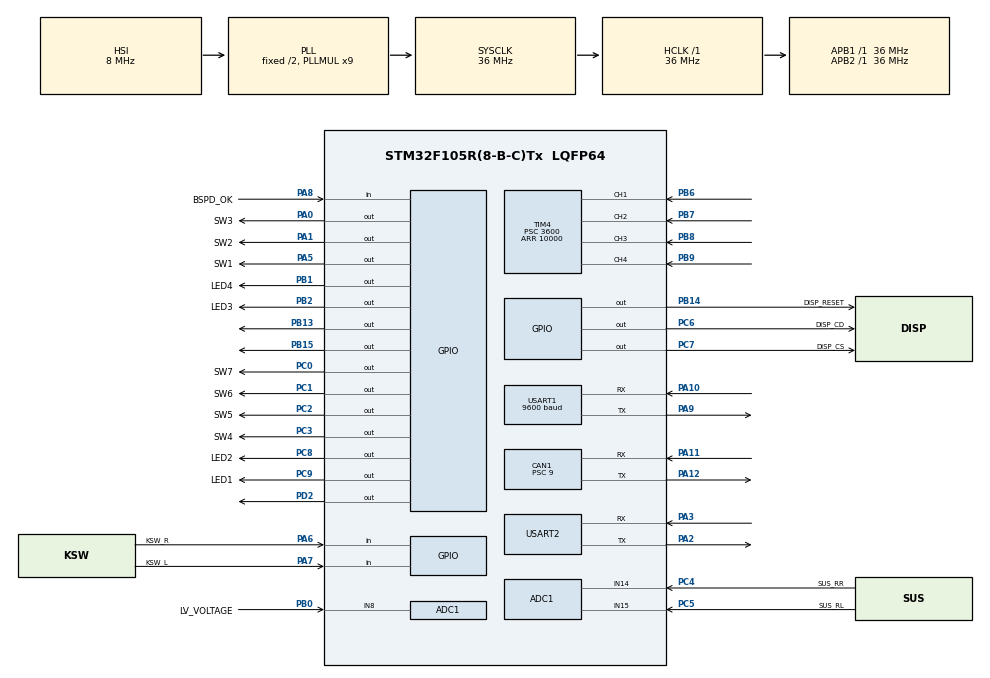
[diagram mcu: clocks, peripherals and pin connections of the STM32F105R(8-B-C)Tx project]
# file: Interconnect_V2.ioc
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ADC1.Channel-10\#ChannelRegularConversion=ADC_CHANNEL_8
ADC1.Channel-11\#ChannelRegularConversion=ADC_CHANNEL_14
ADC1.Channel-12\#ChannelRegularConversion=ADC_CHANNEL_15
ADC1.Channel-13\#ChannelRegularConversion=ADC_CHANNEL_TEMPSENSOR
ADC1.ContinuousConvMode=ENABLE
ADC1.DataAlign=ADC_DATAALIGN_RIGHT
ADC1.DiscontinuousConvMode=DISABLE
ADC1.EnableAnalogWatchDog=false
ADC1.EnableRegularConversion=ENABLE
ADC1.ExternalTrigConv=ADC_SOFTWARE_START
ADC1.InjNumberOfConversion=0
ADC1.NbrOfConversion=4
ADC1.NbrOfConversionFlag=1
ADC1.Rank-10\#ChannelRegularConversion=1
ADC1.Rank-11\#ChannelRegularConversion=2
ADC1.Rank-12\#ChannelRegularConversion=3
ADC1.Rank-13\#ChannelRegularConversion=4
ADC1.SamplingTime-10\#ChannelRegularConversion=ADC_SAMPLETIME_41CYCLES_5
ADC1.SamplingTime-11\#ChannelRegularConversion=ADC_SAMPLETIME_41CYCLES_5
ADC1.SamplingTime-12\#ChannelRegularConversion=ADC_SAMPLETIME_41CYCLES_5
ADC1.SamplingTime-13\#ChannelRegularConversion=ADC_SAMPLETIME_41CYCLES_5
ADC1.ScanConvMode=ADC_SCAN_ENABLE
ADC1.master=1
CAN1.BS1=CAN_BS1_5TQ
CAN1.BS2=CAN_BS2_2TQ
CAN1.CalculateTimeBit=2000
CAN1.CalculateTimeQuantum=250.0
CAN1.Prescaler=9
Dma.ADC1.0.Direction=DMA_PERIPH_TO_MEMORY
Dma.ADC1.0.Instance=DMA1_Channel1
Dma.ADC1.0.MemDataAlignment=DMA_MDATAALIGN_HALFWORD
Dma.ADC1.0.MemInc=DMA_MINC_ENABLE
Dma.ADC1.0.Mode=DMA_CIRCULAR
Dma.ADC1.0.PeriphDataAlignment=DMA_PDATAALIGN_HALFWORD
Dma.ADC1.0.PeriphInc=DMA_PINC_DISABLE
Dma.ADC1.0.Priority=DMA_PRIORITY_LOW
Dma.Request0=ADC1
Mcu.Family=STM32F1
Mcu.Name=STM32F105R(8-B-C)Tx
Mcu.Package=LQFP64
NVIC.CAN1_RX0_IRQn=true\:0\:0\:false\:true\:true\:3\:true
NVIC.CAN1_RX1_IRQn=true\:0\:0\:false\:true\:true\:2\:true
NVIC.CAN1_SCE_IRQn=true\:0\:0\:false\:true\:true\:4\:true
NVIC.CAN1_TX_IRQn=true\:0\:0\:false\:true\:true\:1\:true
NVIC.DMA1_Channel1_IRQn=true\:0\:0\:false\:false\:true\:false
NVIC.PriorityGroup=NVIC_PRIORITYGROUP_4
NVIC.TIM3_IRQn=true\:0\:0\:false\:false\:true\:true
NVIC.TIM4_IRQn=true\:0\:0\:false\:false\:true\:true
NVIC.USART2_IRQn=true\:0\:0\:false\:false\:true\:true
PA0-WKUP.GPIO_Label=SW3
PA0-WKUP.Signal=GPIO_Output
PA1.GPIO_Label=SW2
PA1.Signal=GPIO_Output
PA10.Mode=Asynchronous
PA10.Signal=USART1_RX
PA11.Mode=Master
PA11.Signal=CAN1_RX
PA12.Mode=Master
PA12.Signal=CAN1_TX
PA13.Mode=Serial_Wire
PA13.Signal=SYS_JTMS-SWDIO
PA14.Mode=Serial_Wire
PA14.Signal=SYS_JTCK-SWCLK
PA15.Signal=SPI3_NSS
PA2.Mode=Asynchronous
PA2.Signal=USART2_TX
PA3.Mode=Asynchronous
PA3.Signal=USART2_RX
PA5.GPIO_Label=SW1
PA5.Signal=GPIO_Output
PA6.GPIO_Label=KSW_R
PA6.Signal=GPIO_Input
PA7.GPIO_Label=KSW_L
PA7.Signal=GPIO_Input
PA8.GPIO_Label=BSPD_OK
PA8.Signal=GPIO_Input
PA9.Mode=Asynchronous
PA9.Signal=USART1_TX
PB0.GPIO_Label=LV_VOLTAGE
PB0.Signal=ADCx_IN8
PB1.GPIO_Label=LED4
PB1.Signal=GPIO_Output
PB13.Signal=GPIO_Output
PB14.GPIO_Label=DISP_RESET
PB14.Signal=GPIO_Output
PB15.Signal=GPIO_Output
PB2.GPIO_Label=LED3
PB2.Signal=GPIO_Output
PB3.Signal=SPI3_SCK
PB4.Signal=SPI3_MISO
PB5.Signal=SPI3_MOSI
PB6.Signal=S_TIM4_CH1
PB7.Signal=S_TIM4_CH2
PB8.Signal=S_TIM4_CH3
PB9.Signal=S_TIM4_CH4
PC0.GPIO_Label=SW7
PC0.Signal=GPIO_Output
PC1.GPIO_Label=SW6
PC1.Signal=GPIO_Output
PC10.Signal=USART3_TX
PC11.Signal=USART3_RX
PC12.Signal=USART3_CK
PC2.GPIO_Label=SW5
PC2.Signal=GPIO_Output
PC3.GPIO_Label=SW4
PC3.Signal=GPIO_Output
PC4.GPIO_Label=SUS_RR
PC4.Signal=ADCx_IN14
PC5.GPIO_Label=SUS_RL
PC5.Signal=ADCx_IN15
PC6.GPIO_Label=DISP_CD
PC6.Signal=GPIO_Output
PC7.GPIO_Label=DISP_CS
PC7.Signal=GPIO_Output
PC8.GPIO_Label=LED2
PC8.Signal=GPIO_Output
PC9.GPIO_Label=LED1
PC9.Signal=GPIO_Output
PD2.Signal=GPIO_Output
ProjectManager.HeapSize=0x200
ProjectManager.StackSize=0x400
ProjectManager.TargetToolchain=TrueSTUDIO
RCC.ADCPresc=RCC_ADCPCLK2_DIV6
RCC.AHBFreq_Value=36000000
RCC.APB1Freq_Value=36000000
RCC.APB1TimFreq_Value=36000000
RCC.APB2Freq_Value=36000000
RCC.APB2TimFreq_Value=36000000
RCC.HCLKFreq_Value=36000000
RCC.PLLMUL=RCC_PLL_MUL9
RCC.SYSCLKFreq_VALUE=36000000
RCC.SYSCLKSource=RCC_SYSCLKSOURCE_PLLCLK
RCC.USBFreq_Value=24000000
SH.ADCx_IN14.0=ADC1_IN14,IN14
SH.ADCx_IN15.0=ADC1_IN15,IN15
SH.ADCx_IN8.0=ADC2_IN8
SH.ADCx_IN8.1=ADC1_IN8,IN8
SH.S_TIM4_CH1.0=TIM4_CH1,Input_Capture1_from_TI1
SH.S_TIM4_CH2.0=TIM4_CH2,Input_Capture2_from_TI2
SH.S_TIM4_CH3.0=TIM4_CH3,Input_Capture3_from_TI3
SH.S_TIM4_CH4.0=TIM4_CH4,Input_Capture4_from_TI4
TIM3.Period=10000
TIM3.Prescaler=3600
TIM4.Channel-Input_Capture1_from_TI1=TIM_CHANNEL_1
TIM4.Channel-Input_Capture2_from_TI2=TIM_CHANNEL_2
TIM4.Channel-Input_Capture3_from_TI3=TIM_CHANNEL_3
TIM4.Channel-Input_Capture4_from_TI4=TIM_CHANNEL_4
TIM4.Period=10000
TIM4.Prescaler=3600
USART1.BaudRate=9600
USART1.Mode=MODE_TX
USART1.VirtualMode=VM_ASYNC
USART2.VirtualMode=VM_ASYNC
VP_ADC1_TempSens_Input.Mode=IN-TempSens
VP_TIM3_VS_ClockSourceINT.Mode=Internal
VP_TIM4_VS_ClockSourceINT.Mode=Internal
board=Interconnect_V2

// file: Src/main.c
/**
  ******************************************************************************
  * @file           : main.c
  * @brief          : Main program body
  ******************************************************************************
  ** This notice applies to any and all portions of this file
  * that are not between comment pairs USER CODE BEGIN and
  * USER CODE END. Other portions of this file, whether
  * inserted by the user or by software development tools
  * are owned by their respective copyright owners.
  *
  * COPYRIGHT(c) 2018 STMicroelectronics
  *
  * Redistribution and use in source and binary forms, with or without modification,
  * are permitted provided that the following conditions are met:
  *   1. Redistributions of source code must retain the above copyright notice,
  *      this list of conditions and the following disclaimer.
  *   2. Redistributions in binary form must reproduce the above copyright notice,
  *      this list of conditions and the following disclaimer in the documentation
  *      and/or other materials provided with the distribution.
  *   3. Neither the name of STMicroelectronics nor the names of its contributors
  *      may be used to endorse or promote products derived from this software
  *      without specific prior written permission.
  *
  * THIS SOFTWARE IS PROVIDED BY THE COPYRIGHT HOLDERS AND CONTRIBUTORS "AS IS"
  * AND ANY EXPRESS OR IMPLIED WARRANTIES, INCLUDING, BUT NOT LIMITED TO, THE
  * IMPLIED WARRANTIES OF MERCHANTABILITY AND FITNESS FOR A PARTICULAR PURPOSE ARE
  * DISCLAIMED. IN NO EVENT SHALL THE COPYRIGHT HOLDER OR CONTRIBUTORS BE LIABLE
  * FOR ANY DIRECT, INDIRECT, INCIDENTAL, SPECIAL, EXEMPLARY, OR CONSEQUENTIAL
  * DAMAGES (INCLUDING, BUT NOT LIMITED TO, PROCUREMENT OF SUBSTITUTE GOODS OR
  * SERVICES; LOSS OF USE, DATA, OR PROFITS; OR BUSINESS INTERRUPTION) HOWEVER
  * CAUSED AND ON ANY THEORY OF LIABILITY, WHETHER IN CONTRACT, STRICT LIABILITY,
  * OR TORT (INCLUDING NEGLIGENCE OR OTHERWISE) ARISING IN ANY WAY OUT OF THE USE
  * OF THIS SOFTWARE, EVEN IF ADVISED OF THE POSSIBILITY OF SUCH DAMAGE.
  *
  ******************************************************************************
  */
#include "main.h"
#include "stm32f1xx_hal.h"

/* USER CODE BEGIN Includes */
#include "CAN2018.h"
#include "dog_1701.h"
#include <font_16x32nums.h>
#include <font_6x8.h>
#include <font_8x16.h>
#include <font_8x8.h>
#include <logo_BLH.h>

#define TXSIZE 5
#define RXSIZE 5

#define VCC 3300
#define LEN 32   //pocet vzoriek spriemerovanych v ADC7

#define TEMP_H 45 //teplota pri ktorej zopnu vodne pumpy
#define TEMP_L 40 //teplota pri ktorej vypnu vodne pumpy

//pre telemetriu
#define RXBUFFERSIZE 100
#define RFTXSIZE 9

/* USER CODE END Includes */

ADC_HandleTypeDef hadc1;
DMA_HandleTypeDef hdma_adc1;

CAN_HandleTypeDef hcan1;

TIM_HandleTypeDef htim3;
TIM_HandleTypeDef htim4;

UART_HandleTypeDef huart1;
UART_HandleTypeDef huart2;

/* USER CODE BEGIN PV */
/* Private variables ---------------------------------------------------------*/

char string_buf[7];
uint8_t buzzed=0;
uint8_t brake_ok=0;
uint8_t pocitadlo=0;
uint8_t lv_count=0;
uint8_t rtd_ok=0;
uint8_t BSPD_OK=0;

uint8_t i,k,j,u,x;
uint8_t inertia,killswitch_R,killswitch_L; // snimanie shutdownu

double Time_Left[5],Time_Right[5],spd_L,spd_R,T_Left,T_Right;

#define TEETH 100
#define obvod 1.47655

uint16_t LV_voltage;   // [mV]
uint8_t inertia,killswitch_R,killswitch_L; // snimanie shutdownu

typedef struct message{
		uint16_t cell_voltage[7];	//[mV]
		uint8_t  cell_temp[7];	//[°C]
		int16_t  current;            	 		//[0.1A]
		uint8_t  disch_flags;
		uint8_t  SW_flags;
	}MESSAGE;
MESSAGE BMS_Data;

typedef struct adc_data{
	uint16_t LV_voltage;    //napatie meranie priamo interkonektom
	uint16_t sus_L;			//lavy tlmic
	uint16_t sus_R;			//pravy tlmic
	uint16_t stm_temp;
}ADC;
ADC adc_raw[LEN], adc_mv;
uint8_t pokus[]={1,3};

//buffer telemetrie
uint8_t RfTxBuffer[RFTXSIZE];

/* USER CODE END PV */

void SystemClock_Config(void);
static void MX_GPIO_Init(void);
static void MX_DMA_Init(void);
static void MX_CAN1_Init(void);
static void MX_USART2_UART_Init(void);
static void MX_ADC1_Init(void);
static void MX_USART1_UART_Init(void);
static void MX_TIM3_Init(void);
static void MX_TIM4_Init(void);
static void MX_NVIC_Init(void);

/* USER CODE BEGIN PFP */
/* Private function prototypes -----------------------------------------------*/
void Switch_action(uint8_t number_of_switch, uint8_t state);

static void digit5_to_ascii_int(int16_t value,char *buffer);
static void digit3_to_ascii(uint16_t value,char *buffer);
static void digit3_to_ascii_int(int8_t value,char *buffer);
static void digit5_to_ascii(uint16_t value,char *buffer);
static void digit_to_ascii_XX_X(uint16_t value,char *buffer);
static void digit_to_ascii_int_X_X(int16_t value,char *buffer);
static void print_display();
void adc_raw_to_mv(void);
void water_pump(void);

//fukncie pre telemetriu
static void tel_send_FU1(void);
//static void tel_send_bms(void);
static void tel_send_BBoxPower(void);
static void tel_send_ECU(void);
static void tel_send_INTERKONEKT(void);
//static void tel_send_BmsTemp1(void);
//static void tel_send_BmsTemp2(void);
//static void tel_send_BmsVoltage1(void);
//static void tel_send_BmsVoltage2(void);

/* USER CODE END PFP */

/* USER CODE BEGIN 0 */
CAN_FilterConfTypeDef sFilterConfig;

/// Struktury na ukladanie RAW data z CAN
extern CanTxMsgTypeDef CanTxMsg;
extern CanRxMsgTypeDef CanRxMsg;
extern BBOX_status_TypeDef BBOX_status_Data;
extern BBOX_power_TypeDef BBOX_power_Data;
extern BBOX_command_TypeDef BBOX_command_Data;
extern Interconnect_TypeDef Interconnect_Data;
extern FU_Values_1_TypeDef FU_Values_1_Data;
extern FU_Values_2_TypeDef FU_Values_2_Data;
extern ECU_State_TypeDef ECU_State_Data;
extern BMS_Command_TypeDef BMS_Command_Data;
extern wheel_RPM_TypeDef wheel_RPM_Data;

void initCanFilter(void)
{
    sFilterConfig.FilterNumber = 0;
    sFilterConfig.FilterMode = CAN_FILTERMODE_IDMASK;
    sFilterConfig.FilterScale = CAN_FILTERSCALE_16BIT;
    sFilterConfig.FilterIdHigh = 0x0000;
    sFilterConfig.FilterIdLow = 0x0000;
    sFilterConfig.FilterMaskIdHigh = 0x0000;
    sFilterConfig.FilterMaskIdLow = 0x0000;
    sFilterConfig.FilterFIFOAssignment = CAN_FILTER_FIFO0;
        sFilterConfig.BankNumber = 0;
        sFilterConfig.FilterActivation = ENABLE;

        HAL_CAN_ConfigFilter(&hcan1, &sFilterConfig);
}

void HAL_TIM_IC_CaptureCallback(TIM_HandleTypeDef* htim)
{
	if(htim -> Channel == HAL_TIM_ACTIVE_CHANNEL_1)
		{
			if(j==5)j=0;
			Time_Left[j]=__HAL_TIM_GET_COUNTER(&htim3);;
			j++;
			__HAL_TIM_SET_COUNTER(&htim3,0);
		}

	if(htim -> Channel == HAL_TIM_ACTIVE_CHANNEL_3)
		{
			//  Time_Right*10 000 = time in seconds
			if(k==5)k=0;
			Time_Right[k]=__HAL_TIM_GET_COUNTER(&htim4);;
			k++;
			__HAL_TIM_SET_COUNTER(&htim4,0);
		}
}

/* USER CODE END 0 */

int main(void)
{

  /* MCU Configuration----------------------------------------------------------*/

  /* Reset of all peripherals, Initializes the Flash interface and the Systick. */
  HAL_Init();

  /* Configure the system clock */
  SystemClock_Config();

  /* Initialize all configured peripherals */
  MX_GPIO_Init();
  MX_DMA_Init();
  MX_CAN1_Init();
  MX_USART2_UART_Init();
  MX_ADC1_Init();
  MX_USART1_UART_Init();
  MX_TIM3_Init();
  MX_TIM4_Init();

  /* Initialize interrupts */
  MX_NVIC_Init();
  /* USER CODE BEGIN 2 */
  HAL_Delay(500);
 // HAL_GPIO_WritePin(SW6_GPIO_Port,SW6_Pin,GPIO_PIN_SET);

  initCanFilter();
  hcan1.pTxMsg = &CanTxMsg; //Pointer struktury hcan na data nastavi na struktur v CAN.c
  hcan1.pRxMsg = &CanRxMsg;
   /// Zakladne hodnoty pre struktury nasej zbernice CAN. Aplikuju sa podla nastavenia CAN sprav
   //canDefaults(&hcan1);
  HAL_CAN_Receive_IT(&hcan1, CAN_FIFO0); //Interupt na prijatie prvej spravy. Dalej nastavujeme v evente.

  while(HAL_ADCEx_Calibration_Start(&hadc1) != HAL_OK);
  HAL_ADC_Start_DMA(&hadc1, (uint32_t*)&adc_raw, (LEN*sizeof(ADC))/2);

  //nastavenie displaju
  initialize(30,22,24,26,28,DOGS102);
  view(VIEW_TOP);  //default viewing direction
  clear();  //clear whole display
  contrast(10);

  HAL_Delay(50);
  HAL_GPIO_WritePin(SW2_GPIO_Port,SW2_Pin,GPIO_PIN_SET);   // zopnutie napajanie shutdownu

  	  HAL_TIM_IC_Start_IT(&htim4,TIM_CHANNEL_1);
      HAL_TIM_IC_Start_IT(&htim4,TIM_CHANNEL_2);
      HAL_TIM_IC_Start_IT(&htim4,TIM_CHANNEL_3);
      HAL_TIM_IC_Start_IT(&htim4,TIM_CHANNEL_4);
      HAL_TIM_Base_Start_IT(&htim3);

  /* USER CODE END 2 */

  /* Infinite loop */
  /* USER CODE BEGIN WHILE */
  while (1)
  {     HAL_GPIO_WritePin(SW6_GPIO_Port,SW6_Pin,GPIO_PIN_SET);
		switch (Interconnect_Data.car_state) {
		case 0:
			Interconnect_Data.car_state = 1;
			break;
		case 1:  ///wait for BMS and IMD ok
			if ((BBOX_status_Data.IMD_OK == 1))
				//	&& (BBOX_status_Data.BMS_OK == 1))
				Interconnect_Data.car_state = 2;
			break;
		case 2:  ///wait for SHDN OK
			if (BBOX_status_Data.TSMS > 0) {
				Interconnect_Data.car_state = 3;
			}
			else (Interconnect_Data.car_state=2);

			break;
		case 3:  /// wait for HV precharged all OK
			if ((BBOX_status_Data.AIR_N == 1) && (BBOX_status_Data.AIR_P == 1))
				Interconnect_Data.car_state = 4;
			break;
		case 4:  ///wait for rtd
				 //rtd_ok=0;
			if (FU_Values_2_Data.RTD == 1)
				rtd_ok = 1;
			if ((rtd_ok == 1) && (FU_Values_2_Data.RTD == 0)) {
				Interconnect_Data.car_state = 5;
				rtd_ok = 0;
			}
			//rtd_ok=0;
			break;
		case 5:		  ///wait for break press and release
			if ((BBOX_status_Data.TSMS < 1))
							Interconnect_Data.car_state = 1;

			if ((FU_Values_1_Data.brake1 + FU_Values_1_Data.brake2) > 10)
				brake_ok = 1;
			if ((brake_ok == 1)
					&& ((FU_Values_1_Data.brake1 + FU_Values_1_Data.brake2) > 10)
					&& (FU_Values_2_Data.RTD)) {

				Interconnect_Data.car_state = 6;

				HAL_GPIO_WritePin(SW3_GPIO_Port, SW3_Pin, GPIO_PIN_SET);
				Interconnect_Data.tsas = 1;
				HAL_Delay(1500);
				HAL_GPIO_WritePin(SW3_GPIO_Port, SW3_Pin, GPIO_PIN_RESET);
				Interconnect_Data.tsas = 0;
				//buzzed=0;
				 //Interconnect_Data.tsas=1;
			//	 if (buzzed==0) HAL_TIM_Base_Start_IT(&htim6);
			}
			break;
		case 6:		  /// all OK driving mode

			if ((BBOX_status_Data.TSMS < 1)) {
				Interconnect_Data.car_state = 1;

				Interconnect_Data.tsas = 0;
				rtd_ok=0;
			}
			if (((FU_Values_1_Data.apps1 - FU_Values_1_Data.apps2) > 20)
					|| ((FU_Values_1_Data.apps2 - FU_Values_1_Data.apps1) > 20))
				Interconnect_Data.car_state = 7;

			/*
			if (((FU_Values_1_Data.brake1 + FU_Values_1_Data.brake2) > 6)
					&& ((FU_Values_1_Data.apps1 + FU_Values_1_Data.apps2) > 50))
				Interconnect_Data.car_state = 8;
*/
			break;
		case 7:		  ///implausability check acc1 nad acc2

			if ((BBOX_status_Data.TSMS < 1)) {
				Interconnect_Data.car_state = 1;

				HAL_Delay(1000);
				Interconnect_Data.tsas = 0;
			}
			if (((FU_Values_1_Data.apps1 - FU_Values_1_Data.apps2) > 20)
					|| ((FU_Values_1_Data.apps2 - FU_Values_1_Data.apps1) > 20)
					)//|| (FU_Values_1_Data.error > 0))
				Interconnect_Data.car_state = 7;
			else
				Interconnect_Data.car_state = 6;
			break;
		case 8:		  ///plausability check acc and brake

			if ((BBOX_status_Data.TSMS < 1)) {
				Interconnect_Data.car_state = 1;
				HAL_Delay(1000);
				Interconnect_Data.tsas = 0;
			}
			if ((FU_Values_1_Data.apps1 + FU_Values_1_Data.apps2) < 11)
				Interconnect_Data.car_state = 6;
			break;
		default:
			break;
		}

		//zopnutie brzdoveho svetla
		if ((FU_Values_1_Data.brake1 > 3) || (FU_Values_1_Data.brake2 > 3)) {
			Interconnect_Data.brake_red = 1;
			HAL_GPIO_WritePin(SW4_GPIO_Port, SW4_Pin, GPIO_PIN_SET); //red
			HAL_GPIO_WritePin(SW5_GPIO_Port,SW5_Pin,GPIO_PIN_RESET);  // white turn off
			Interconnect_Data.brake_white=0;
		}
		else {
			Interconnect_Data.brake_red = 0;
			HAL_GPIO_WritePin(SW4_GPIO_Port, SW4_Pin, GPIO_PIN_RESET); //red
		}

		if((Interconnect_Data.car_state<3)&&(Interconnect_Data.brake_red==0)) {
			HAL_GPIO_WritePin(SW5_GPIO_Port,SW5_Pin,GPIO_PIN_SET);
			Interconnect_Data.brake_white=1;
		}

		else {
			HAL_GPIO_WritePin(SW5_GPIO_Port,SW5_Pin,GPIO_PIN_RESET);
			Interconnect_Data.brake_white=0;
		}

		water_pump();

		(HAL_GPIO_ReadPin(KSW_L_GPIO_Port,KSW_L_Pin))? (Interconnect_Data.killswitch_L=0):(Interconnect_Data.killswitch_L=1);
		(HAL_GPIO_ReadPin(KSW_R_GPIO_Port,KSW_R_Pin))?(Interconnect_Data.killswitch_R=0):(Interconnect_Data.killswitch_R=1);
		(HAL_GPIO_ReadPin(BSPD_OK_GPIO_Port,BSPD_OK_Pin))?(BSPD_OK=1):(BSPD_OK=0);
		HAL_UART_Receive_IT(&huart2, (uint8_t*)&BMS_Data,(uint16_t) sizeof(MESSAGE));

		LV_voltage=0;
		for(i=0;i<7;i++) {
			LV_voltage+= BMS_Data.cell_voltage[i];
		}
		Interconnect_Data.susp_RL=LV_voltage;
		Interconnect_Data.susp_RR=(uint16_t)(BMS_Data.current);
		adc_raw_to_mv();
		print_display();

		/*
		//posli telemetriu
		tel_send_FU1();
		tel_send_BBoxPower();
		tel_send_ECU();
		tel_send_INTERKONEKT();
*/
		//otáèky
						for(u=0;u<5;u++)
							  	  {
								  	  T_Left=T_Left + Time_Left[u];
								  	  T_Right=T_Right + Time_Right[u];
							  	  }
							  T_Left=T_Left/5.0;
							  T_Right=T_Right/5.0;
							  if (T_Left!=0)  //(T_Left!=0) && (T_Right!=0)
							  {
							  wheel_RPM_Data.rear_left = ((10000*obvod)/((T_Left)*TEETH));  	 // m/s
							  wheel_RPM_Data.rear_right = ((10000*obvod)/((T_Right)*TEETH));		//m/s
							  }
							  if(__HAL_TIM_GET_COUNTER(&htim4)>=5000)
							  	  {
								  for(u=0;u<5;u++)
								  	  	  {
								  		  	  Time_Left[u]=0;
								  		  	  Time_Right[u]=0;
								  		  	  spd_L=0;
								  		  	  spd_R=0;
								  		  	  T_Left=0;
								  		  	  T_Right=0;
								  		  	  k=0;
								  		  	  j=0;
								  	  	  }
							  	  }

				Interconnect_Data.reserve=BBOX_status_Data.STM_temp;

				x=HAL_GPIO_ReadPin(GPIOB,GPIO_PIN_6);

		HAL_UART_Transmit(&huart1, (uint8_t*)&BMS_Data,(uint16_t) sizeof(MESSAGE),10);

		//HAL_UART_Transmit(&huart1, (uint8_t*)&pokus, 2, 5 );

		Tx_Interconnect_Data(&hcan1, &Interconnect_Data);
		Tx_wheel_RPM_Data(&hcan1,&wheel_RPM_Data);
		HAL_GPIO_TogglePin(LED2_GPIO_Port, LED2_Pin);
		HAL_Delay(15);

  /* USER CODE END WHILE */

  }

}

void SystemClock_Config(void)
{

  RCC_OscInitTypeDef RCC_OscInitStruct;
  RCC_ClkInitTypeDef RCC_ClkInitStruct;
  RCC_PeriphCLKInitTypeDef PeriphClkInit;

    /**Initializes the CPU, AHB and APB busses clocks
    */
  RCC_OscInitStruct.OscillatorType = RCC_OSCILLATORTYPE_HSI;
  RCC_OscInitStruct.HSIState = RCC_HSI_ON;
  RCC_OscInitStruct.HSICalibrationValue = 16;
  RCC_OscInitStruct.Prediv1Source = RCC_PREDIV1_SOURCE_HSE;
  RCC_OscInitStruct.PLL.PLLState = RCC_PLL_ON;
  RCC_OscInitStruct.PLL.PLLSource = RCC_PLLSOURCE_HSI_DIV2;
  RCC_OscInitStruct.PLL.PLLMUL = RCC_PLL_MUL9;
  RCC_OscInitStruct.PLL2.PLL2State = RCC_PLL_NONE;
  if (HAL_RCC_OscConfig(&RCC_OscInitStruct) != HAL_OK)
  {
    _Error_Handler(__FILE__, __LINE__);
  }

    /**Initializes the CPU, AHB and APB busses clocks
    */
  RCC_ClkInitStruct.ClockType = RCC_CLOCKTYPE_HCLK|RCC_CLOCKTYPE_SYSCLK
                              |RCC_CLOCKTYPE_PCLK1|RCC_CLOCKTYPE_PCLK2;
  RCC_ClkInitStruct.SYSCLKSource = RCC_SYSCLKSOURCE_PLLCLK;
  RCC_ClkInitStruct.AHBCLKDivider = RCC_SYSCLK_DIV1;
  RCC_ClkInitStruct.APB1CLKDivider = RCC_HCLK_DIV1;
  RCC_ClkInitStruct.APB2CLKDivider = RCC_HCLK_DIV1;

  if (HAL_RCC_ClockConfig(&RCC_ClkInitStruct, FLASH_LATENCY_1) != HAL_OK)
  {
    _Error_Handler(__FILE__, __LINE__);
  }

  PeriphClkInit.PeriphClockSelection = RCC_PERIPHCLK_ADC;
  PeriphClkInit.AdcClockSelection = RCC_ADCPCLK2_DIV6;
  if (HAL_RCCEx_PeriphCLKConfig(&PeriphClkInit) != HAL_OK)
  {
    _Error_Handler(__FILE__, __LINE__);
  }

    /**Configure the Systick interrupt time
    */
  HAL_SYSTICK_Config(HAL_RCC_GetHCLKFreq()/1000);

    /**Configure the Systick
    */
  HAL_SYSTICK_CLKSourceConfig(SYSTICK_CLKSOURCE_HCLK);

    /**Configure the Systick interrupt time
    */
  __HAL_RCC_PLLI2S_ENABLE();

  /* SysTick_IRQn interrupt configuration */
  HAL_NVIC_SetPriority(SysTick_IRQn, 0, 0);
}

/**
  * @brief NVIC Configuration.
  * @retval None
  */
static void MX_NVIC_Init(void)
{
  /* CAN1_TX_IRQn interrupt configuration */
  HAL_NVIC_SetPriority(CAN1_TX_IRQn, 0, 0);
  HAL_NVIC_EnableIRQ(CAN1_TX_IRQn);
  /* CAN1_RX1_IRQn interrupt configuration */
  HAL_NVIC_SetPriority(CAN1_RX1_IRQn, 0, 0);
  HAL_NVIC_EnableIRQ(CAN1_RX1_IRQn);
  /* CAN1_RX0_IRQn interrupt configuration */
  HAL_NVIC_SetPriority(CAN1_RX0_IRQn, 0, 0);
  HAL_NVIC_EnableIRQ(CAN1_RX0_IRQn);
  /* CAN1_SCE_IRQn interrupt configuration */
  HAL_NVIC_SetPriority(CAN1_SCE_IRQn, 0, 0);
  HAL_NVIC_EnableIRQ(CAN1_SCE_IRQn);
}

/* ADC1 init function */
static void MX_ADC1_Init(void)
{

  ADC_ChannelConfTypeDef sConfig;

    /**Common config
    */
  hadc1.Instance = ADC1;
  hadc1.Init.ScanConvMode = ADC_SCAN_ENABLE;
  hadc1.Init.ContinuousConvMode = ENABLE;
  hadc1.Init.DiscontinuousConvMode = DISABLE;
  hadc1.Init.ExternalTrigConv = ADC_SOFTWARE_START;
  hadc1.Init.DataAlign = ADC_DATAALIGN_RIGHT;
  hadc1.Init.NbrOfConversion = 4;
  if (HAL_ADC_Init(&hadc1) != HAL_OK)
  {
    _Error_Handler(__FILE__, __LINE__);
  }

    /**Configure Regular Channel
    */
  sConfig.Channel = ADC_CHANNEL_8;
  sConfig.Rank = ADC_REGULAR_RANK_1;
  sConfig.SamplingTime = ADC_SAMPLETIME_41CYCLES_5;
  if (HAL_ADC_ConfigChannel(&hadc1, &sConfig) != HAL_OK)
  {
    _Error_Handler(__FILE__, __LINE__);
  }

    /**Configure Regular Channel
    */
  sConfig.Channel = ADC_CHANNEL_14;
  sConfig.Rank = ADC_REGULAR_RANK_2;
  if (HAL_ADC_ConfigChannel(&hadc1, &sConfig) != HAL_OK)
  {
    _Error_Handler(__FILE__, __LINE__);
  }

    /**Configure Regular Channel
    */
  sConfig.Channel = ADC_CHANNEL_15;
  sConfig.Rank = ADC_REGULAR_RANK_3;
  if (HAL_ADC_ConfigChannel(&hadc1, &sConfig) != HAL_OK)
  {
    _Error_Handler(__FILE__, __LINE__);
  }

    /**Configure Regular Channel
    */
  sConfig.Channel = ADC_CHANNEL_TEMPSENSOR;
  sConfig.Rank = ADC_REGULAR_RANK_4;
  if (HAL_ADC_ConfigChannel(&hadc1, &sConfig) != HAL_OK)
  {
    _Error_Handler(__FILE__, __LINE__);
  }

}

/* CAN1 init function */
static void MX_CAN1_Init(void)
{

  hcan1.Instance = CAN1;
  hcan1.Init.Prescaler = 9;
  hcan1.Init.Mode = CAN_MODE_NORMAL;
  hcan1.Init.SJW = CAN_SJW_1TQ;
  hcan1.Init.BS1 = CAN_BS1_5TQ;
  hcan1.Init.BS2 = CAN_BS2_2TQ;
  hcan1.Init.TTCM = DISABLE;
  hcan1.Init.ABOM = DISABLE;
  hcan1.Init.AWUM = DISABLE;
  hcan1.Init.NART = DISABLE;
  hcan1.Init.RFLM = DISABLE;
  hcan1.Init.TXFP = DISABLE;
  if (HAL_CAN_Init(&hcan1) != HAL_OK)
  {
    _Error_Handler(__FILE__, __LINE__);
  }

}

/* TIM3 init function */
static void MX_TIM3_Init(void)
{

  TIM_ClockConfigTypeDef sClockSourceConfig;
  TIM_MasterConfigTypeDef sMasterConfig;

  htim3.Instance = TIM3;
  htim3.Init.Prescaler = 3600;
  htim3.Init.CounterMode = TIM_COUNTERMODE_UP;
  htim3.Init.Period = 10000;
  htim3.Init.ClockDivision = TIM_CLOCKDIVISION_DIV1;
  htim3.Init.AutoReloadPreload = TIM_AUTORELOAD_PRELOAD_DISABLE;
  if (HAL_TIM_Base_Init(&htim3) != HAL_OK)
  {
    _Error_Handler(__FILE__, __LINE__);
  }

  sClockSourceConfig.ClockSource = TIM_CLOCKSOURCE_INTERNAL;
  if (HAL_TIM_ConfigClockSource(&htim3, &sClockSourceConfig) != HAL_OK)
  {
    _Error_Handler(__FILE__, __LINE__);
  }

  sMasterConfig.MasterOutputTrigger = TIM_TRGO_RESET;
  sMasterConfig.MasterSlaveMode = TIM_MASTERSLAVEMODE_DISABLE;
  if (HAL_TIMEx_MasterConfigSynchronization(&htim3, &sMasterConfig) != HAL_OK)
  {
    _Error_Handler(__FILE__, __LINE__);
  }

}

/* TIM4 init function */
static void MX_TIM4_Init(void)
{

  TIM_ClockConfigTypeDef sClockSourceConfig;
  TIM_MasterConfigTypeDef sMasterConfig;
  TIM_IC_InitTypeDef sConfigIC;

  htim4.Instance = TIM4;
  htim4.Init.Prescaler = 3600;
  htim4.Init.CounterMode = TIM_COUNTERMODE_UP;
  htim4.Init.Period = 10000;
  htim4.Init.ClockDivision = TIM_CLOCKDIVISION_DIV1;
  htim4.Init.AutoReloadPreload = TIM_AUTORELOAD_PRELOAD_DISABLE;
  if (HAL_TIM_Base_Init(&htim4) != HAL_OK)
  {
    _Error_Handler(__FILE__, __LINE__);
  }

  sClockSourceConfig.ClockSource = TIM_CLOCKSOURCE_INTERNAL;
  if (HAL_TIM_ConfigClockSource(&htim4, &sClockSourceConfig) != HAL_OK)
  {
    _Error_Handler(__FILE__, __LINE__);
  }

  if (HAL_TIM_IC_Init(&htim4) != HAL_OK)
  {
    _Error_Handler(__FILE__, __LINE__);
  }

  sMasterConfig.MasterOutputTrigger = TIM_TRGO_RESET;
  sMasterConfig.MasterSlaveMode = TIM_MASTERSLAVEMODE_DISABLE;
  if (HAL_TIMEx_MasterConfigSynchronization(&htim4, &sMasterConfig) != HAL_OK)
  {
    _Error_Handler(__FILE__, __LINE__);
  }

  sConfigIC.ICPolarity = TIM_INPUTCHANNELPOLARITY_RISING;
  sConfigIC.ICSelection = TIM_ICSELECTION_DIRECTTI;
  sConfigIC.ICPrescaler = TIM_ICPSC_DIV1;
  sConfigIC.ICFilter = 0;
  if (HAL_TIM_IC_ConfigChannel(&htim4, &sConfigIC, TIM_CHANNEL_1) != HAL_OK)
  {
    _Error_Handler(__FILE__, __LINE__);
  }

  if (HAL_TIM_IC_ConfigChannel(&htim4, &sConfigIC, TIM_CHANNEL_2) != HAL_OK)
  {
    _Error_Handler(__FILE__, __LINE__);
  }

  if (HAL_TIM_IC_ConfigChannel(&htim4, &sConfigIC, TIM_CHANNEL_3) != HAL_OK)
  {
    _Error_Handler(__FILE__, __LINE__);
  }

  if (HAL_TIM_IC_ConfigChannel(&htim4, &sConfigIC, TIM_CHANNEL_4) != HAL_OK)
  {
    _Error_Handler(__FILE__, __LINE__);
  }

}

/* USART1 init function */
static void MX_USART1_UART_Init(void)
{

  huart1.Instance = USART1;
  huart1.Init.BaudRate = 9600;
  huart1.Init.WordLength = UART_WORDLENGTH_8B;
  huart1.Init.StopBits = UART_STOPBITS_1;
  huart1.Init.Parity = UART_PARITY_NONE;
  huart1.Init.Mode = UART_MODE_TX;
  huart1.Init.HwFlowCtl = UART_HWCONTROL_NONE;
  huart1.Init.OverSampling = UART_OVERSAMPLING_16;
  if (HAL_UART_Init(&huart1) != HAL_OK)
  {
    _Error_Handler(__FILE__, __LINE__);
  }

}

/* USART2 init function */
static void MX_USART2_UART_Init(void)
{

  huart2.Instance = USART2;
  huart2.Init.BaudRate = 115200;
  huart2.Init.WordLength = UART_WORDLENGTH_8B;
  huart2.Init.StopBits = UART_STOPBITS_1;
  huart2.Init.Parity = UART_PARITY_NONE;
  huart2.Init.Mode = UART_MODE_TX_RX;
  huart2.Init.HwFlowCtl = UART_HWCONTROL_NONE;
  huart2.Init.OverSampling = UART_OVERSAMPLING_16;
  if (HAL_UART_Init(&huart2) != HAL_OK)
  {
    _Error_Handler(__FILE__, __LINE__);
  }

}

static void MX_DMA_Init(void)
{
  /* DMA controller clock enable */
  __HAL_RCC_DMA1_CLK_ENABLE();

  /* DMA interrupt init */
  /* DMA1_Channel1_IRQn interrupt configuration */
  HAL_NVIC_SetPriority(DMA1_Channel1_IRQn, 0, 0);
  HAL_NVIC_EnableIRQ(DMA1_Channel1_IRQn);

}

/** Configure pins as
        * Analog
        * Input
        * Output
        * EVENT_OUT
        * EXTI
     PB0   ------> ADCx_IN8
     PA15   ------> SPI3_NSS
     PC10   ------> USART3_TX
     PC11   ------> USART3_RX
     PC12   ------> USART3_CK
     PB3   ------> SPI3_SCK
     PB4   ------> SPI3_MISO
     PB5   ------> SPI3_MOSI
*/
static void MX_GPIO_Init(void)
{

  GPIO_InitTypeDef GPIO_InitStruct;

  /* GPIO Ports Clock Enable */
  __HAL_RCC_GPIOC_CLK_ENABLE();
  __HAL_RCC_GPIOA_CLK_ENABLE();
  __HAL_RCC_GPIOB_CLK_ENABLE();
  __HAL_RCC_GPIOD_CLK_ENABLE();

  /*Configure GPIO pin Output Level */
  HAL_GPIO_WritePin(GPIOC, SW7_Pin|SW6_Pin|SW5_Pin|SW4_Pin
                          |DISP_CD_Pin|DISP_CS_Pin|LED2_Pin|LED1_Pin, GPIO_PIN_RESET);

  /*Configure GPIO pin Output Level */
  HAL_GPIO_WritePin(GPIOA, SW3_Pin|SW2_Pin|SW1_Pin, GPIO_PIN_RESET);

  /*Configure GPIO pin Output Level */
  HAL_GPIO_WritePin(GPIOB, LED4_Pin|LED3_Pin|GPIO_PIN_13|DISP_RESET_Pin
                          |GPIO_PIN_15, GPIO_PIN_RESET);

  /*Configure GPIO pin Output Level */
  HAL_GPIO_WritePin(GPIOD, GPIO_PIN_2, GPIO_PIN_RESET);

  /*Configure GPIO pins : SW7_Pin SW6_Pin SW5_Pin SW4_Pin
                           DISP_CD_Pin DISP_CS_Pin LED2_Pin LED1_Pin */
  GPIO_InitStruct.Pin = SW7_Pin|SW6_Pin|SW5_Pin|SW4_Pin
                          |DISP_CD_Pin|DISP_CS_Pin|LED2_Pin|LED1_Pin;
  GPIO_InitStruct.Mode = GPIO_MODE_OUTPUT_PP;
  GPIO_InitStruct.Speed = GPIO_SPEED_FREQ_LOW;
  HAL_GPIO_Init(GPIOC, &GPIO_InitStruct);

  /*Configure GPIO pins : SW3_Pin SW2_Pin SW1_Pin */
  GPIO_InitStruct.Pin = SW3_Pin|SW2_Pin|SW1_Pin;
  GPIO_InitStruct.Mode = GPIO_MODE_OUTPUT_PP;
  GPIO_InitStruct.Speed = GPIO_SPEED_FREQ_LOW;
  HAL_GPIO_Init(GPIOA, &GPIO_InitStruct);

  /*Configure GPIO pins : KSW_R_Pin KSW_L_Pin BSPD_OK_Pin */
  GPIO_InitStruct.Pin = KSW_R_Pin|KSW_L_Pin|BSPD_OK_Pin;
  GPIO_InitStruct.Mode = GPIO_MODE_INPUT;
  GPIO_InitStruct.Pull = GPIO_NOPULL;
  HAL_GPIO_Init(GPIOA, &GPIO_InitStruct);

  /*Configure GPIO pin : LV_VOLTAGE_Pin */
  GPIO_InitStruct.Pin = LV_VOLTAGE_Pin;
  GPIO_InitStruct.Mode = GPIO_MODE_ANALOG;
  HAL_GPIO_Init(LV_VOLTAGE_GPIO_Port, &GPIO_InitStruct);

  /*Configure GPIO pins : LED4_Pin LED3_Pin PB13 DISP_RESET_Pin
                           PB15 */
  GPIO_InitStruct.Pin = LED4_Pin|LED3_Pin|GPIO_PIN_13|DISP_RESET_Pin
                          |GPIO_PIN_15;
  GPIO_InitStruct.Mode = GPIO_MODE_OUTPUT_PP;
  GPIO_InitStruct.Speed = GPIO_SPEED_FREQ_LOW;
  HAL_GPIO_Init(GPIOB, &GPIO_InitStruct);

  /*Configure GPIO pin : PA15 */
  GPIO_InitStruct.Pin = GPIO_PIN_15;
  GPIO_InitStruct.Mode = GPIO_MODE_AF_PP;
  GPIO_InitStruct.Speed = GPIO_SPEED_FREQ_HIGH;
  HAL_GPIO_Init(GPIOA, &GPIO_InitStruct);

  /*Configure GPIO pins : PC10 PC12 */
  GPIO_InitStruct.Pin = GPIO_PIN_10|GPIO_PIN_12;
  GPIO_InitStruct.Mode = GPIO_MODE_AF_PP;
  GPIO_InitStruct.Speed = GPIO_SPEED_FREQ_HIGH;
  HAL_GPIO_Init(GPIOC, &GPIO_InitStruct);

  /*Configure GPIO pin : PC11 */
  GPIO_InitStruct.Pin = GPIO_PIN_11;
  GPIO_InitStruct.Mode = GPIO_MODE_INPUT;
  GPIO_InitStruct.Pull = GPIO_NOPULL;
  HAL_GPIO_Init(GPIOC, &GPIO_InitStruct);

  /*Configure GPIO pin : PD2 */
  GPIO_InitStruct.Pin = GPIO_PIN_2;
  GPIO_InitStruct.Mode = GPIO_MODE_OUTPUT_PP;
  GPIO_InitStruct.Speed = GPIO_SPEED_FREQ_LOW;
  HAL_GPIO_Init(GPIOD, &GPIO_InitStruct);

  /*Configure GPIO pins : PB3 PB4 PB5 */
  GPIO_InitStruct.Pin = GPIO_PIN_3|GPIO_PIN_4|GPIO_PIN_5;
  GPIO_InitStruct.Mode = GPIO_MODE_AF_PP;
  GPIO_InitStruct.Speed = GPIO_SPEED_FREQ_HIGH;
  HAL_GPIO_Init(GPIOB, &GPIO_InitStruct);

  /*Configure peripheral I/O remapping */
  __HAL_AFIO_REMAP_USART3_PARTIAL();

}

/* USER CODE BEGIN 4 */

void Switch_action(uint8_t number_of_switch, uint8_t state){

	switch(number_of_switch) {
			case (1): HAL_GPIO_WritePin(GPIOA,GPIO_PIN_5,state ); break;
			case (2): HAL_GPIO_WritePin(GPIOA,GPIO_PIN_1,state); break;
			case (3): HAL_GPIO_WritePin(GPIOA,GPIO_PIN_0, state); break;
			case (4): HAL_GPIO_WritePin(GPIOC,GPIO_PIN_3,state); break;
			case (5): HAL_GPIO_WritePin(GPIOC,GPIO_PIN_2,state); break;
			case (6): HAL_GPIO_WritePin(GPIOC,GPIO_PIN_1,state); break;
			case (7): HAL_GPIO_WritePin(GPIOC,GPIO_PIN_0,state); break;
		}
}

static void digit5_to_ascii_int(int16_t value,char *buffer)
{
	buffer[0]=(value>=0)?'+':'-';
	value=(value>=0)?value:-value;
	buffer[1]=(value/10000)+'0';
	buffer[2]=((value%10000)/1000)+'0';
	buffer[3]=((value%1000)/100)+'0';
	buffer[4]=((value%100)/10)+'0';
	buffer[5]=(value%10)+'0';
	buffer[5]='\0';
}

static void digit5_to_ascii(uint16_t value,char *buffer)
{
	buffer[0]=(value/10000)+'0';
	buffer[1]=((value%10000)/1000)+'0';
	buffer[2]=((value%1000)/100)+'0';
	buffer[3]=((value%100)/10)+'0';
	buffer[4]=(value%10)+'0';
	buffer[5]='\0';
}

static void digit3_to_ascii(uint16_t value,char *buffer)
{

	buffer[0]=(value/100)+'0';
	buffer[1]=((value%100)/10)+'0';
	buffer[2]=(value%10)+'0';
	buffer[3]='\0';

}

static void digit3_to_ascii_int(int8_t value,char *buffer)
{
	buffer[0]=(value>=0)?'+':'-';
	value=value>=0?value:-value;
	buffer[1]=(value/100)+'0';
	buffer[2]=((value%100)/10)+'0';
	buffer[3]=(value%10)+'0';
	buffer[4]='\0';
}

static void digit4_to_ascii(uint16_t value,char *buffer)
{
	buffer[0]=(value/1000)+'0';
	buffer[1]=((value%1000)/100)+'0';
	buffer[2]=((value%100)/10)+'0';
	buffer[3]=(value%10)+'0';
	buffer[4]='\0';
}

static void digit_to_ascii_XX_X(uint16_t value,char *buffer)
{

	buffer[0]=(value/100)+'0';
	buffer[1]= ((value%100)/10) +'0';
	buffer[2]='.';
	buffer[3]= (value%10)+'0';
	buffer[4]='\0';

}

static void digit_to_ascii_int_X_X(int16_t value,char *buffer)
{
	buffer[0]=(value>=0)?'+':'-';
	value=(value>=0)?value:-value;
	buffer[0]= (value/10) +'0';
	buffer[1]='.';
	buffer[2]= (value%10)+'0';
	buffer[3]='\0';
}

static void print_display()
{

	 string(0, 0, font_6x8, "Ac1:");
	digit3_to_ascii(FU_Values_1_Data.apps1, string_buf);
	string(25, 0, font_6x8, string_buf);
	string(50, 0, font_6x8, "Ac2:");
	digit3_to_ascii(FU_Values_1_Data.apps2, string_buf);
	string(75, 0, font_6x8, string_buf);
	string(0, 1, font_6x8, "Br1:");
	digit3_to_ascii(FU_Values_1_Data.brake1, string_buf);
	string(25, 1, font_6x8, string_buf);
	string(50, 1, font_6x8, "Br2:");
	digit3_to_ascii(FU_Values_1_Data.brake2, string_buf);
	string(75, 1, font_6x8, string_buf);

	string(0, 2, font_6x8, "Err:");
	string_buf[0] = (FU_Values_1_Data.error & 0b10000) == 16 ? '1' : '0';
	string_buf[1] = (FU_Values_1_Data.error & 0b1000) == 8 ? '1' : '0';
	string_buf[2] = (FU_Values_1_Data.error & 0b100) == 4 ? '1' : '0';
	string_buf[3] = (FU_Values_1_Data.error & 0b10) == 2 ? '1' : '0';
	string_buf[4] = (FU_Values_1_Data.error & 0b1) == 1 ? '1' : '0';
	string_buf[5] = '\0';
	string(25, 2, font_6x8, string_buf);

	string(60, 2, font_6x8, "State:");
	string_buf[0] = Interconnect_Data.car_state + '0';
	string_buf[1] = '\0';
	string(96, 2, font_6x8, string_buf);

	string(0, 3, font_6x8, "Str:");
	digit3_to_ascii_int(FU_Values_2_Data.steer, string_buf);
	string(25, 3, font_6x8, string_buf);

	string(55, 3, font_6x8, "Rtd:");
	string_buf[0] = FU_Values_2_Data.RTD + '0';
	string_buf[1] = '\0';
	string(80, 3, font_6x8, string_buf);

	string(0, 5, font_6x8, "IMD:");
	//digit3_to_ascii(BBOX_status_Data.IMD_OK,string_buf);
	string_buf[0] = BBOX_status_Data.IMD_OK + '0';
	string_buf[1] = '\0';
	string(25, 5, font_6x8, string_buf);

	string(35, 5, font_6x8, "RES:");
	//digit3_to_ascii(BBOX_status_Data.AMS_OK,string_buf);
	string_buf[0] = BBOX_status_Data.SHD_RESET + '0';
	string_buf[1] = '\0';
	string(60, 5, font_6x8, string_buf);

	string(70, 5, font_6x8, "SHO:");
	//digit3_to_ascii(BBOX_status_Data.AMS_OK,string_buf);
	string_buf[0] = BBOX_status_Data.SHD_OUT + '0';
	string_buf[1] = '\0';
	string(96, 5, font_6x8, string_buf);

	string(0, 6, font_6x8, "Ulv:");
	digit_to_ascii_XX_X((LV_voltage/100), string_buf);
	string(24, 6, font_6x8, string_buf);
	string(48, 6, font_6x8, "V");

	string(55, 6, font_6x8, "Uhv:");
	if (BBOX_power_Data.voltage > 0) {
		digit3_to_ascii( BBOX_power_Data.voltage, string_buf);
		string(75, 6, font_6x8, string_buf);
	} else {
		string(75, 6, font_6x8, "000");
	}
	string(95, 6, font_6x8, "V");

	string(55, 7, font_6x8, "Ilv");
	digit_to_ascii_int_X_X(BMS_Data.current,string_buf);
	string(75, 7, font_6x8, string_buf);
	string(95, 7, font_6x8,"A");

	string(0, 7, font_6x8, "SHD:     ");
	if((BSPD_OK==1)&&(FU_Values_2_Data.INERTIA_SW==1)&&(FU_Values_2_Data.SHDB==1)&&(FU_Values_2_Data.BOTS==1)&&(Interconnect_Data.killswitch_L==1)
			&&(Interconnect_Data.killswitch_R==1)&&(BBOX_status_Data.IMD_OK)
			&&(BBOX_status_Data.SHD_EN)&&((BBOX_status_Data.BMS_OK)==0)&&(BBOX_status_Data.TSMS==1))
		string(25, 7, font_6x8, "ON");

	else if(BSPD_OK==0)							string(25, 7, font_6x8, "BSPD");
	else if(FU_Values_2_Data.INERTIA_SW==0) 	string(25, 7, font_6x8, "INT");
	else if(FU_Values_2_Data.SHDB==0) 			string(25, 7, font_6x8, "KSW_F");
	else if(FU_Values_2_Data.BOTS==0) 			string(25, 7, font_6x8, "BOTS");
	else if(Interconnect_Data.killswitch_L==0) 	string(25, 7, font_6x8, "KSW_L");
	else if(Interconnect_Data.killswitch_R==0) 	string(25, 7, font_6x8, "KSW_R");
	else if(BBOX_status_Data.IMD_OK==0)  		string(25, 7, font_6x8, "IMD");
	else if(BBOX_status_Data.SHD_EN==0)  		string(25, 7, font_6x8, "SHD_EN");
	else if(BBOX_status_Data.TSMS==0) 			string(25, 7, font_6x8, "TSMS");
	//else if(BBOX_status_Data.BMS_OK==0)  string(25, 7, font_6x8, "BMS");
	else       		  string(25, 7, font_6x8, "ERR");

	/*
	string(54, 7, font_6x8, "SHDN:");
	if (BBOX_status_Data.AIR_P == 1 && BBOX_status_Data.AIR_N == 1) {
		string(84, 7, font_6x8, "ON ");
	} else {
		string(84, 7, font_6x8, "OFF");
	}
    */

}

void adc_raw_to_mv(void){
	uint8_t i;
	adc_mv.LV_voltage=0;
	adc_mv.sus_L=0;
	adc_mv.sus_R=0;

	for(i=0;i<LEN;i++){
			adc_mv.LV_voltage+=(uint16_t)adc_raw[i].LV_voltage;
			adc_mv.sus_L+=(uint16_t)adc_raw[i].sus_L;
			adc_mv.sus_R+= (uint16_t)adc_raw[i].sus_R;
		}

		//prepocita na milivolty
		adc_mv.LV_voltage=adc_mv.LV_voltage *VCC/(4095*LEN);
		adc_mv.sus_L=adc_mv.sus_L*VCC/(4095*LEN);
		adc_mv.sus_R=adc_mv.sus_R*VCC/(4095*LEN);
}

void water_pump(void){

	if((ECU_State_Data.TempIGBT_H>TEMP_H)||(ECU_State_Data.TempInverter_H>TEMP_H)||(ECU_State_Data.TempMotor_H>TEMP_H)){
		HAL_GPIO_WritePin(SW1_GPIO_Port,SW1_Pin, GPIO_PIN_SET);  //pumpa R?
		HAL_GPIO_WritePin(SW2_GPIO_Port,SW2_Pin, GPIO_PIN_SET);  //pumpa_L?
		HAL_GPIO_WritePin(SW7_GPIO_Port,SW7_Pin, GPIO_PIN_SET);  //fany na chladice

	};

	if((ECU_State_Data.TempIGBT_H<TEMP_L)&&(ECU_State_Data.TempInverter_H<TEMP_L)&&(ECU_State_Data.TempMotor_H<TEMP_L)){
			HAL_GPIO_WritePin(SW1_GPIO_Port,SW1_Pin, GPIO_PIN_RESET);
			HAL_GPIO_WritePin(SW2_GPIO_Port,SW2_Pin, GPIO_PIN_RESET);
			HAL_GPIO_WritePin(SW7_GPIO_Port,SW7_Pin, GPIO_PIN_RESET);  //fany na chladice
	};
}

static void tel_send_FU1(void)
{
	HAL_UART_Transmit(&huart1,FU_Values_1_Data.apps1,1,1);
	HAL_UART_Transmit(&huart1,FU_Values_1_Data.apps2,1,1);
	HAL_UART_Transmit(&huart1,FU_Values_1_Data.brake1,1,1);
	HAL_UART_Transmit(&huart1,FU_Values_1_Data.brake2,1,1);
	HAL_UART_Transmit(&huart1,FU_Values_1_Data.error / 256,1,1);
	HAL_UART_Transmit(&huart1,FU_Values_1_Data.error % 256,1,1);
	HAL_UART_Transmit(&huart1,FU_Values_2_Data.brake_pos,1,1);
	HAL_UART_Transmit(&huart1,"b",1,1);
	HAL_UART_Transmit(&huart1,255,1,1);
}
/*
static void tel_send_bms(void)
{
	RfTxBuffer[0]=BMS_State_Data.BMS_Faults/256;
	RfTxBuffer[1]=BMS_State_Data.BMS_Faults%256;

	RfTxBuffer[2]=BMS_State_Data.BMS_Mode;
	RfTxBuffer[3]=BMS_State_Data.CellTemp_H;

	RfTxBuffer[4]=BMS_State_Data.CellTemp_L;
	RfTxBuffer[5]=BMS_State_Data.CellVolt_H;

	RfTxBuffer[6]=BMS_State_Data.CellVolt_L;
	RfTxBuffer[7]='b';

	RfTxBuffer[8]=255;
	HAL_UART_Transmit(&huart1,RfTxBuffer,9,3);
	//HAL_UART_Transmit(&huart1,"b",1,1);
}
*/

static void tel_send_BBoxPower(void)
{
	RfTxBuffer[0]=BBOX_status_Data.AIR_N*128 + BBOX_status_Data.AIR_P*64 + BBOX_status_Data.BMS_OK*32 + BBOX_status_Data.FANS*16 + BBOX_status_Data.IMD_OK*8 + BBOX_status_Data.POLARITY*4 + BBOX_status_Data.SHD_EN*2+ BBOX_status_Data.SHD_RESET;

	HAL_UART_Transmit(&huart1,BBOX_power_Data.current/256,1,1);
	HAL_UART_Transmit(&huart1,BBOX_power_Data.current%265,1,1);
	HAL_UART_Transmit(&huart1,BBOX_power_Data.power/256,1,1);
	HAL_UART_Transmit(&huart1,BBOX_power_Data.power%256,1,1);
	HAL_UART_Transmit(&huart1,BBOX_power_Data.power/256,1,1);
	HAL_UART_Transmit(&huart1,BBOX_power_Data.voltage%256,1,1);
	HAL_UART_Transmit(&huart1,RfTxBuffer,1,1);
	HAL_UART_Transmit(&huart1,"p",1,1);
	HAL_UART_Transmit(&huart1,255,1,1);

}

static void tel_send_ECU(void)
{
	HAL_UART_Transmit(&huart1,ECU_State_Data.ECU_Status,1,1);
	HAL_UART_Transmit(&huart1,ECU_State_Data.FL_AMK_Status,1,1);
	HAL_UART_Transmit(&huart1,ECU_State_Data.FR_AMK_Status,1,1);
	HAL_UART_Transmit(&huart1,ECU_State_Data.RL_AMK_Status,1,1);
	HAL_UART_Transmit(&huart1,ECU_State_Data.RR_AMK_Status,1,1);
	HAL_UART_Transmit(&huart1,ECU_State_Data.TempInverter_H,1,1);
	HAL_UART_Transmit(&huart1,ECU_State_Data.TempMotor_H,1,1);
	HAL_UART_Transmit(&huart1,"e",1,1);
	HAL_UART_Transmit(&huart1,255,1,1);
}
static void tel_send_INTERKONEKT(void)
{
	RfTxBuffer[0]=Interconnect_Data.tsas*128 + Interconnect_Data.right_w_pump*64 + Interconnect_Data.left_w_pump*32 + Interconnect_Data.killswitch_R*16 + Interconnect_Data.killswitch_L*8 + Interconnect_Data.brake_red*4 + Interconnect_Data.brake_white*2 ;
	HAL_UART_Transmit(&huart1,Interconnect_Data.car_state,1,1);
	HAL_UART_Transmit(&huart1,RfTxBuffer,1,1);
	HAL_UART_Transmit(&huart1,Interconnect_Data.susp_RL/256,1,1);
	HAL_UART_Transmit(&huart1,Interconnect_Data.susp_RL%256,1,1);
	HAL_UART_Transmit(&huart1,Interconnect_Data.susp_RR/256,1,1);
	HAL_UART_Transmit(&huart1,Interconnect_Data.susp_RR%256,1,1);
	HAL_UART_Transmit(&huart1,'i',1,1);
	HAL_UART_Transmit(&huart1,255,1,1);
}
/*
static void tel_send_ECU(void)
{
    RfTxBuffer[0]=ECU_State_Data.ECU_Status;
	RfTxBuffer[1]=ECU_State_Data.FL_AMK_Status;

	RfTxBuffer[2]=ECU_State_Data.FR_AMK_Status;
	RfTxBuffer[3]=ECU_State_Data.RL_AMK_Status;

	RfTxBuffer[4]=ECU_State_Data.RR_AMK_Status;
	//RfTxBuffer[5]=ECU_State_Data.TempIGBT_H;

	RfTxBuffer[5]=ECU_State_Data.TempInverter_H;
	RfTxBuffer[6]=ECU_State_Data.TempMotor_H;

	RfTxBuffer[7]='e';
	RfTxBuffer[8]=255;
	HAL_UART_Transmit(&huart1,RfTxBuffer,9,3);
	//HAL_UART_Transmit(&huart1,"e",1,1);
}*/
/*
static void tel_send_BBoxPower(void)
{
	RfTxBuffer[0]=BBOX_power_Data.current/256;
	RfTxBuffer[1]=BBOX_power_Data.current%265;

	RfTxBuffer[2]=BBOX_power_Data.power/256;
	RfTxBuffer[3]=BBOX_power_Data.power%256;

	RfTxBuffer[4]=BBOX_power_Data.voltage/256;
	RfTxBuffer[5]=BBOX_power_Data.voltage%256;

	RfTxBuffer[6]=BBOX_status_Data.AIR_N*128 + BBOX_status_Data.AIR_P*64 + BBOX_status_Data.BMS_OK*32 + BBOX_status_Data.FANS*16 + BBOX_status_Data.IMD_OK*8 + BBOX_status_Data.POLARITY*4 + BBOX_status_Data.SHD_EN*2+ BBOX_status_Data.SHD_RESET;
	RfTxBuffer[7]='p';

	RfTxBuffer[8]=255;
	HAL_UART_Transmit(&huart1,RfTxBuffer,9,3);
	//HAL_UART_Transmit(&huart1,"p",1,1);
}*/
/*
static void tel_send_INTERKONEKT(void)
{
    RfTxBuffer[0]=Interconnect_Data.car_state;
	RfTxBuffer[1]=Interconnect_Data.tsas*128 + Interconnect_Data.right_w_pump*64 + Interconnect_Data.left_w_pump*32 + Interconnect_Data.killswitch_R*16 + Interconnect_Data.killswitch_L*8 + Interconnect_Data.brake_red*4 + Interconnect_Data.brake_white*2 ;
	RfTxBuffer[2]=Interconnect_Data.susp_RL/256;
	RfTxBuffer[3]=Interconnect_Data.susp_RL%256;
	RfTxBuffer[4]=Interconnect_Data.susp_RR/256;
	RfTxBuffer[5]=Interconnect_Data.susp_RR%256;
	RfTxBuffer[6]='i';
	RfTxBuffer[7]=255;
	HAL_UART_Transmit(&huart1,RfTxBuffer,8,3);
	//HAL_UART_Transmit(&huart1,"i",1,1);
}*/
/*
static void tel_send_FU1(void)
{
	RfTxBuffer[0]=FU_Values_1_Data.apps1;
	RfTxBuffer[1]=FU_Values_1_Data.apps2;

	RfTxBuffer[2]=FU_Values_1_Data.brake1;
	RfTxBuffer[3]=FU_Values_1_Data.brake2;

	RfTxBuffer[4]=FU_Values_1_Data.error / 256;
	RfTxBuffer[5]=FU_Values_1_Data.error % 256;

	//RfTxBuffer[6]=FU_Values_2_Data.steer;
	RfTxBuffer[6]=FU_Values_2_Data.brake_pos;

	RfTxBuffer[7]='f';
	RfTxBuffer[8]=255;
    HAL_UART_Transmit(&huart1,RfTxBuffer,9,3);
}*/
/* USER CODE END 4 */

void _Error_Handler(char *file, int line)
{
  while(1)
  {
  }
}

/************************ (C) COPYRIGHT STMicroelectronics *****END OF FILE****/
